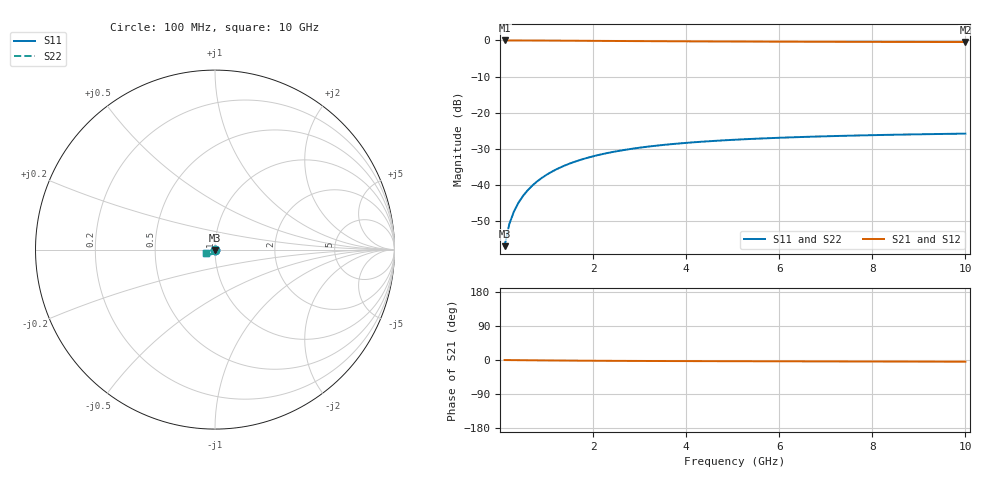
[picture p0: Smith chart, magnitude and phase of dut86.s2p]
! Touchstone file exported from HFSS 2024.1.0
!  File:  C:/UserFiles/LocalFiles/RDL_TSV_Batchsim/temp_TSV1_86_1779375640.aedt
!  Generated:  11:06:50 PM May 21, 2026
!  Design:  TSV1
!  Project:  temp_TSV1_86_1779375640
!  Setup:  Setup1
!  Solution:  Sweep
! Variables:
!  dtsv = 13.7um
!  hbump = 3um
!  htsv = 66.59um
!  lrdl = 252.1521522um
!  p = 40
!  p1 = 47.07um
!  t = 500um
!  trdl = 3um
!  wrdl = 24.89489489um
# GHz S MA R 50.000000
! Terminal data exported
! Port[1] = TSV22_T1
! Port[2] = TSV22_T2
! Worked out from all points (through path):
!   100 points, 100 MHz to 10 GHz, reference 50 ohm
!   highest |S21| = 0.00 dB at 100 MHz (marker M1); lowest = -0.4 dB at 10 GHz (marker M2)
!   lowest |S11| = -56.8 dB at 100 MHz (marker M3), VSWR 1.00, Z = 50 - j0.144 ohm
!   |S11| at or under -10 dB: start of sweep to end of sweep
!   |S22| runs from -56.8 to -25.7 dB; largest |S21 - S12| = 3e-15
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0.1  0.001443 -88.5  0.9999 -0.1  0.9999 -0.1  0.001443 -88.5
! Gamma 0 0 0 0
! Port Impedance 50 0 50 0
0.2  0.002898 -91.8  0.9997 -0.2  0.9997 -0.2  0.002898 -91.8
0.3  0.004342 -93.9  0.9995 -0.4  0.9995 -0.4  0.004342 -93.9
0.4  0.005775 -95.8  0.9992 -0.5  0.9992 -0.5  0.005775 -95.8
0.5  0.007192 -97.5  0.9989 -0.6  0.9989 -0.6  0.007192 -97.5
0.6  0.008591 -99.2  0.9984 -0.7  0.9984 -0.7  0.008591 -99.2
0.7  0.009969 -100.8  0.9979 -0.8  0.9979 -0.8  0.009969 -100.8
0.8  0.01132 -102.4  0.9973 -0.9  0.9973 -0.9  0.01132 -102.4
0.9  0.01265 -104.0  0.9967 -1.0  0.9967 -1.0  0.01265 -104.0
1.1  0.01522 -107.0  0.9953 -1.2  0.9953 -1.2  0.01522 -107.0
1.4  0.01883 -111.4  0.9929 -1.5  0.9929 -1.5  0.01883 -111.4
1.6  0.02107 -114.1  0.9911 -1.7  0.9911 -1.7  0.02107 -114.1
1.8  0.02317 -116.6  0.9894 -1.8  0.9894 -1.8  0.02317 -116.6
2.1  0.02605 -120.2  0.9867 -2.0  0.9867 -2.0  0.02605 -120.2
2.5  0.02944 -124.6  0.9832 -2.3  0.9832 -2.3  0.02944 -124.6
2.9  0.03237 -128.5  0.9799 -2.5  0.9799 -2.5  0.03237 -128.5
3.4  0.03546 -132.7  0.976 -2.7  0.976 -2.7  0.03546 -132.7
4.2  0.03939 -138.4  0.9707 -3.0  0.9707 -3.0  0.03939 -138.4
5.1  0.04273 -143.5  0.9657 -3.2  0.9657 -3.2  0.04273 -143.5
6.7  0.04689 -150.3  0.9592 -3.7  0.9592 -3.7  0.04689 -150.3
8.4  0.0498 -155.7  0.9545 -4.1  0.9545 -4.1  0.0498 -155.7
10  0.05168 -159.7  0.9513 -4.5  0.9513 -4.5  0.05168 -159.7
